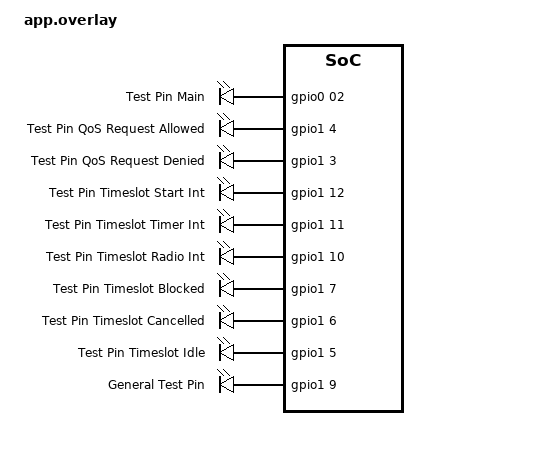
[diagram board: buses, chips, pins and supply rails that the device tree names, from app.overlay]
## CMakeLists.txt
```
#
# Copyright (c) 2019 Nordic Semiconductor
#
# SPDX-License-Identifier: LicenseRef-Nordic-5-Clause
#
cmake_minimum_required(VERSION 3.20.0)

find_package(Zephyr REQUIRED HINTS $ENV{ZEPHYR_BASE})
project(NONE)

if (CONFIG_SOC_NRF5340_CPUAPP)
  message(FATAL_ERROR "This sample is not supported on the nRF53 application core")
endif()

# NORDIC SDK APP START
target_sources(app PRIVATE
  src/main.c
  src/test_gpio.c
)
# NORDIC SDK APP END
zephyr_library_include_directories(.)
```

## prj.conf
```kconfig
#
# Copyright (c) 2019 Nordic Semiconductor
#
# SPDX-License-Identifier: LicenseRef-Nordic-5-Clause
#

CONFIG_NCS_SAMPLES_DEFAULTS=y

CONFIG_MPSL=y
CONFIG_MPSL_TIMESLOT_SESSION_COUNT=1

CONFIG_LOG=y
CONFIG_LOG_MODE_DEFERRED=y

# CONFIG_SERIAL=n
CONFIG_UART_CONSOLE=n
CONFIG_USE_SEGGER_RTT=y

# when this log mode used: an assert with a spinlock arises instead of just a complete freeze
# CONFIG_LOG_MODE_IMMEDIATE=y

# more details in assert
CONFIG_THREAD_NAME=y
CONFIG_ASSERT_NO_COND_INFO=n
CONFIG_ASSERT_NO_MSG_INFO=n

# trying out huge stack sizes, but still facing problem
CONFIG_IDLE_STACK_SIZE=4096
CONFIG_PRIVILEGED_STACK_SIZE=4096
CONFIG_LOG_PROCESS_THREAD_STACK_SIZE=65536
CONFIG_LOG_BUFFER_SIZE=8192
CONFIG_MAIN_STACK_SIZE=4096
CONFIG_ISR_STACK_SIZE=32768
CONFIG_SYSTEM_WORKQUEUE_STACK_SIZE=4096
CONFIG_MPSL_WORK_STACK_SIZE=4096

# Thread analysis
#CONFIG_THREAD_ANALYZER=y
#CONFIG_THREAD_ANALYZER_AUTO=y
#CONFIG_THREAD_ANALYZER_AUTO_INTERVAL=5
#CONFIG_THREAD_MONITOR=y
#CONFIG_THREAD_RUNTIME_STATS=y
#CONFIG_THREAD_RUNTIME_STATS_USE_TIMING_FUNCTIONS=y
#CONFIG_THREAD_ANALYZER_USE_LOG=y
#CONFIG_THREAD_ANALYZER_ISR_STACK_USAGE=y
#CONFIG_THREAD_ANALYZER_AUTO_STACK_SIZE=4096
```

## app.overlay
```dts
/ {
	test_gpio {
		compatible = "gpio-leds";

		main: test_main {
			gpios = <&gpio0 02 GPIO_ACTIVE_HIGH>;
			label = "Test Pin Main";
		};

        qos_req_all: test_104 {
        	gpios = <&gpio1 4 GPIO_ACTIVE_HIGH>;
        	label = "Test Pin QoS Request Allowed";
        };

		qos_req_den: test_103 {
        	gpios = <&gpio1 3 GPIO_ACTIVE_HIGH>;
        	label = "Test Pin QoS Request Denied";
        };

		tim_start: test_112 {
        	gpios = <&gpio1 12 GPIO_ACTIVE_HIGH>;
        	label = "Test Pin Timeslot Start Int";
        };

		tim_timer: test_111 {
        	gpios = <&gpio1 11 GPIO_ACTIVE_HIGH>;
        	label = "Test Pin Timeslot Timer Int";
        };

		tim_radio: test_110 {
        	gpios = <&gpio1 10 GPIO_ACTIVE_HIGH>;
        	label = "Test Pin Timeslot Radio Int";
        };

		tim_block: test_107 {
        	gpios = <&gpio1 7 GPIO_ACTIVE_HIGH>;
        	label = "Test Pin Timeslot Blocked";
        };

		tim_cancel: test_106 {
        	gpios = <&gpio1 6 GPIO_ACTIVE_HIGH>;
        	label = "Test Pin Timeslot Cancelled";
        };

		tim_idle: test_105 {
        	gpios = <&gpio1 5 GPIO_ACTIVE_HIGH>;
        	label = "Test Pin Timeslot Idle";
        };

		test: test_pin {
        	gpios = <&gpio1 9 GPIO_ACTIVE_HIGH>;
        	label = "General Test Pin";
        };
	};
};
```

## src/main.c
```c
/*
 * Copyright (c) 2019 Nordic Semiconductor ASA
 *
 * SPDX-License-Identifier: LicenseRef-Nordic-5-Clause
 */

#include <zephyr/kernel.h>
#include <zephyr/console/console.h>
#include <string.h>
#include <zephyr/sys/printk.h>
#include <zephyr/sys/ring_buffer.h>
#include <zephyr/types.h>
#include <zephyr/irq.h>
#include <zephyr/logging/log.h>

#include <mpsl_timeslot.h>
#include <mpsl.h>
#include <hal/nrf_timer.h>

#include <zephyr/drivers/gpio.h>
#include "test_gpio.h"

LOG_MODULE_REGISTER(demo, LOG_LEVEL_INF);

/* DEFINES FOR CONFIGURATION*/
// TODO: Should be put in a Kconfig

// If defined create pulses using a workqeue that disables the GPIO
// after some time instead of toggling it.
// (for IDLE and request allowed/denied)
// #define PULSE

// If defined toggle GPIO gpio_test for each message read/send in queue.
// For RX it can be seen how immediate logging increases the duration for reading each element.
// #define GPIO_MSGQ_RX
// #define GPIO_MSGQ_TX

// To test many messages at a faster rate to (probably) more likely get an error.
// Causes lost messages in logging when deffered logging is used.
// #define FAST

// If defined will read less data then put into the queue due to maximum limit, so queue will fill up.
// Not all messages can be sent at some point (should be visible in log -> missing numbers).
#define FILL_BUFFER

// Can be used to not use a message queue but just directly write data in 
// global structure in interrupt that can be read in the other thread.
// In this example the timing guarantees no access at the same time,
// but in general this has not to be the case, an interrupt may change
// the date during reading the values.
// The implmenetation is made to fit the normal operation, not the fast one.
// So, when FAST is used, this will have no effect.
// #define NO_MSGQ

/* END DEFINES FOR CONFIGURATION*/

extern struct gpio_dt_spec gpio_main;
extern struct gpio_dt_spec gpio_qos_req_all;
extern struct gpio_dt_spec gpio_qos_req_den;
extern struct gpio_dt_spec gpio_tim_start;
extern struct gpio_dt_spec gpio_tim_timer;
extern struct gpio_dt_spec gpio_tim_idle;
extern struct gpio_dt_spec gpio_test;

#if defined(FAST)
#define TIMESLOT_LENGTH_US           (1500)
#else
#define TIMESLOT_LENGTH_US           (6700)
#endif

#define TIMER_EXPIRY_US (TIMESLOT_LENGTH_US - 200)

#define MPSL_THREAD_PRIO             CONFIG_MPSL_THREAD_COOP_PRIO
#define STACKSIZE                    CONFIG_MAIN_STACK_SIZE
#define THREAD_PRIORITY              K_LOWEST_APPLICATION_THREAD_PRIO

/* MPSL API calls that can be requested for the non-preemptible thread */
enum mpsl_timeslot_call {
	OPEN_SESSION,
	MAKE_REQUEST,
	CLOSE_SESSION,
};

/* Timeslot requests */
static mpsl_timeslot_request_t timeslot_request_earliest = {
	.request_type = MPSL_TIMESLOT_REQ_TYPE_EARLIEST,
	.params.earliest.hfclk = MPSL_TIMESLOT_HFCLK_CFG_NO_GUARANTEE,
	.params.earliest.priority = MPSL_TIMESLOT_PRIORITY_NORMAL,
	.params.earliest.length_us = TIMESLOT_LENGTH_US,
	.params.earliest.timeout_us = 1000000
};

static mpsl_timeslot_signal_return_param_t signal_callback_return_param;

/* Message queue for requesting MPSL API calls to non-preemptible thread */
K_MSGQ_DEFINE(mpsl_api_msgq, sizeof(enum mpsl_timeslot_call), 10, 4);

// Only allow new request when available
K_SEM_DEFINE(sem_allow_request, 0, 1);

// Send data from ISR to thread
#if defined(NO_MSGQ) && !defined(FAST)
uint8_t data_array[20];
#else
#if defined(FAST)
K_MSGQ_DEFINE(data_msgq, 1, 200, 1);
#else
K_MSGQ_DEFINE(data_msgq, 1, 120, 1);
#endif
#endif


static mpsl_timeslot_signal_return_param_t *mpsl_timeslot_callback(
	mpsl_timeslot_session_id_t session_id,
	uint32_t signal_type)
{
	(void) session_id; /* unused parameter */

	mpsl_timeslot_signal_return_param_t *p_ret_val = NULL;

	switch (signal_type) {

	case MPSL_TIMESLOT_SIGNAL_START:
		/* No return action */
		signal_callback_return_param.callback_action = MPSL_TIMESLOT_SIGNAL_ACTION_NONE;
		p_ret_val = &signal_callback_return_param;

		/* Setup timer to trigger an interrupt (and thus the TIMER0
		 * signal) before timeslot end.
		 */
		nrf_timer_cc_set(NRF_TIMER0, NRF_TIMER_CC_CHANNEL0, TIMER_EXPIRY_US);
		nrf_timer_int_enable(NRF_TIMER0, NRF_TIMER_INT_COMPARE0_MASK);

		gpio_pin_toggle_dt(&gpio_tim_start);
	
		static uint8_t test_val = 0;
	#if defined(FAST)
		// Even that it is faster want to cause a higer load for this test
		// and also send more messages.
		// With TX pulses activated: Duration is about 500 us for sending all 100 messages.
		for(int count = 0; count < 100; count ++)
	#else
		for(int count = 0; count < 20; count ++)
	#endif
		{
		#if defined(GPIO_MSGQ_TX)
			gpio_pin_toggle_dt(&gpio_test);
		#endif
    		test_val++;
		#if defined(NO_MSGQ) && !defined(FAST)
			data_array[count] = test_val;
		#else

			int err = k_msgq_put(&data_msgq, &test_val, K_NO_WAIT);

			if(err == -ENOMSG)
			{
				// LOG_WRN("ENOMSG");
			}
			else if(err == -EAGAIN)
			{
				// LOG_WRN("EAGAIN");
			}
		#endif
		}

		break;
	case MPSL_TIMESLOT_SIGNAL_TIMER0:
		/* Clear event */
		nrf_timer_int_disable(NRF_TIMER0, NRF_TIMER_INT_COMPARE0_MASK);
		nrf_timer_event_clear(NRF_TIMER0, NRF_TIMER_EVENT_COMPARE0);

		gpio_pin_toggle_dt(&gpio_tim_timer);

		signal_callback_return_param.callback_action = MPSL_TIMESLOT_SIGNAL_ACTION_END;
		p_ret_val = &signal_callback_return_param;
		
		break;
	case MPSL_TIMESLOT_SIGNAL_SESSION_IDLE:
	#if defined(PULSE)
		gpio_pin_set_dt(&gpio_tim_idle, true);
		disable_gpio_work(gpio_tim_idle.pin);
	#else
		gpio_pin_toggle_dt(&gpio_tim_idle);
	#endif

		k_sem_give(&sem_allow_request);

		break;
	case MPSL_TIMESLOT_SIGNAL_SESSION_CLOSED:
		// Will not happen in this example

		break;
	default:
		LOG_ERR("unexpected signal: %u", signal_type);
		k_oops();
		break;
	}

	return p_ret_val;
}

static void mpsl_timeslot_demo(void)
{
	int err;
	enum mpsl_timeslot_call api_call;

	api_call = OPEN_SESSION;
	err = k_msgq_put(&mpsl_api_msgq, &api_call, K_FOREVER);
	if (err) {
		LOG_ERR("Message sent error: %d", err);
		k_oops();
	}

	while(1)
	{
		api_call = MAKE_REQUEST;

		int sem_code = k_sem_take(&sem_allow_request, K_NO_WAIT);

		if(sem_code == 0)
		{
		#if defined(PULSE)
			gpio_pin_set_dt(&gpio_qos_req_all, true);
			disable_gpio_work(gpio_qos_req_all.pin);
		#else
			gpio_pin_toggle_dt(&gpio_qos_req_all);
		#endif

			err = k_msgq_put(&mpsl_api_msgq, &api_call, K_FOREVER);
			if (err) {
				LOG_ERR("Message sent error: %d", err);
				k_oops();
			}
		}
		else
		{
			#if defined(PULSE)
				gpio_pin_set_dt(&gpio_qos_req_den, true);
				disable_gpio_work(gpio_qos_req_den.pin);
			#else
				gpio_pin_toggle_dt(&gpio_qos_req_den);
			#endif
		}

	#if defined(FAST)
		k_msleep(12);
	#else
		k_msleep(100);
	#endif

#if defined(NO_MSGQ) && !defined(FAST)
	LOG_INF("START");
	for(int i=0; i<20; i++)
	{
		LOG_INF("%2d: %3d", i, data_array[i]);
	}
	// LOG_INF("%3d %3d %3d %3d %3d %3d %3d %3d %3d %3d %3d %3d %3d %3d %3d %3d %3d %3d %3d %3d",
	// 	data_array[0], data_array[1], data_array[2], data_array[3], data_array[4],
	// 	data_array[5], data_array[6], data_array[7], data_array[8], data_array[9],
	// 	data_array[10], data_array[11], data_array[12], data_array[13], data_array[14],
	// 	data_array[15], data_array[16], data_array[17], data_array[18], data_array[19]
	// 	);
#else
		uint8_t data_recv;

		uint8_t max_data_count = 0;
	
		do
		{
			if(k_msgq_get(&data_msgq, &data_recv, K_NO_WAIT) != 0)
			{
				break;
			}

		#if defined(GPIO_MSGQ_RX)
			gpio_pin_toggle_dt(&gpio_test);
		#endif
	
			LOG_INF("%d", data_recv);

			max_data_count++;

	// In fast mode always sending 100 messages, in normal mode 20
	#if defined(FAST)
		#if defined(FILL_BUFFER)
			if(max_data_count == 98)
		#else
			if(max_data_count == 120)
		#endif
	#else
		#if defined(FILL_BUFFER)
			if(max_data_count == 18)
		#else
			if(max_data_count == 40)
		#endif
	#endif
			{
				LOG_INF("STOP MSG");
				break;
			}

		}while(1);

		LOG_INF("NO MORE MSG");

#endif

	}
}

/* To ensure thread safe operation, call all MPSL APIs from a non-preemptible
 * thread.
 */
static void mpsl_nonpreemptible_thread(void)
{
	int err;
	enum mpsl_timeslot_call api_call = 0;

	/* Initialize to invalid session id */
	mpsl_timeslot_session_id_t session_id = 0xFFu;

	while (1) {
		if (k_msgq_get(&mpsl_api_msgq, &api_call, K_FOREVER) == 0) {
			switch (api_call) {
			case OPEN_SESSION:
				err = mpsl_timeslot_session_open(
					mpsl_timeslot_callback,
					&session_id);
				if (err) {
					LOG_ERR("Timeslot session open error: %d", err);
					k_oops();
				}
				LOG_INF("Opened session");
				k_sem_give(&sem_allow_request);
				break;
			case MAKE_REQUEST:
				err = mpsl_timeslot_request(
					session_id,
					&timeslot_request_earliest);
				if (err) {
					LOG_ERR("Timeslot request error: %d", err);
					k_oops();
				}
				break;
			case CLOSE_SESSION:
				err = mpsl_timeslot_session_close(session_id);
				if (err) {
					LOG_ERR("Timeslot session close error: %d", err);
					k_oops();
				}
				LOG_INF("Closed session");
				break;
			default:
				LOG_ERR("Wrong timeslot API call");
				k_oops();
				break;
			}
		}
	}
}

void main(void)
{
	int err = init_test_gpios();
	if(err < 0)
	{
		LOG_ERR("GPIO INIT ERROR");
		return;
	}

	while(1)
	{
		gpio_pin_toggle_dt(&gpio_main);

		k_sleep(K_MSEC(15));
	}
}

K_THREAD_DEFINE(mpsl_timeslot_demo_thread_id, STACKSIZE,
		mpsl_timeslot_demo, NULL, NULL, NULL,
		5, 0, 0);

K_THREAD_DEFINE(mpsl_nonpreemptible_thread_id, STACKSIZE,
		mpsl_nonpreemptible_thread, NULL, NULL, NULL,
		K_PRIO_COOP(MPSL_THREAD_PRIO), 0, 0);
```

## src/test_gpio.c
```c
#include <zephyr/kernel.h>
#include <zephyr/drivers/gpio.h>
#include <zephyr/types.h>

#include "test_gpio.h"

#include <zephyr/logging/log.h>
LOG_MODULE_REGISTER(gpio, LOG_LEVEL_INF);

#define GPIO_DELAY_US 100

// get device information from device tree
struct gpio_dt_spec gpio_main = GPIO_DT_SPEC_GET(DT_NODELABEL(main), gpios);
struct gpio_dt_spec gpio_qos_req_all = GPIO_DT_SPEC_GET(DT_NODELABEL(qos_req_all), gpios);
struct gpio_dt_spec gpio_qos_req_den = GPIO_DT_SPEC_GET(DT_NODELABEL(qos_req_den), gpios);
struct gpio_dt_spec gpio_tim_start = GPIO_DT_SPEC_GET(DT_NODELABEL(tim_start), gpios);
struct gpio_dt_spec gpio_tim_timer = GPIO_DT_SPEC_GET(DT_NODELABEL(tim_timer), gpios);
struct gpio_dt_spec gpio_tim_radio = GPIO_DT_SPEC_GET(DT_NODELABEL(tim_radio), gpios);
struct gpio_dt_spec gpio_tim_block = GPIO_DT_SPEC_GET(DT_NODELABEL(tim_block), gpios);
struct gpio_dt_spec gpio_tim_cancel = GPIO_DT_SPEC_GET(DT_NODELABEL(tim_cancel), gpios);
struct gpio_dt_spec gpio_tim_idle = GPIO_DT_SPEC_GET(DT_NODELABEL(tim_idle), gpios);

struct gpio_dt_spec gpio_test = GPIO_DT_SPEC_GET(DT_NODELABEL(test), gpios);

// Define function for each pin to clear the GPIOs.
// For each pin a separate function, as it will be called via a work queue and
// a work queue does not allow parameters for the function called.
static void disable_gpio_main() 
{
    gpio_pin_set_dt(&gpio_main, false);
}

static void disable_gpio_qos_req_all() 
{
    gpio_pin_set_dt(&gpio_qos_req_all, false);
}

static void disable_gpio_qos_req_den() 
{
    gpio_pin_set_dt(&gpio_qos_req_den, false);
}

static void disable_gpio_tim_start() 
{
    gpio_pin_set_dt(&gpio_tim_start, false);
}

static void disable_gpio_tim_timer() 
{
    gpio_pin_set_dt(&gpio_tim_timer, false);
}

static void disable_gpio_tim_radio() 
{
    gpio_pin_set_dt(&gpio_tim_radio, false);
}

static void disable_gpio_tim_block() 
{
    gpio_pin_set_dt(&gpio_tim_block, false);
}

static void disable_gpio_tim_cancel() 
{
    gpio_pin_set_dt(&gpio_tim_cancel, false);
}

static void disable_gpio_tim_idle() 
{
    gpio_pin_set_dt(&gpio_tim_idle, false);
}


static void disable_gpio_test() 
{
    gpio_pin_set_dt(&gpio_test, false);
}


// Define delayabale work items for all functions to clear GPIOs.
static K_WORK_DELAYABLE_DEFINE(gpio_main_work, disable_gpio_main); 
static K_WORK_DELAYABLE_DEFINE(gpio_qos_req_all_work, disable_gpio_qos_req_all);
static K_WORK_DELAYABLE_DEFINE(gpio_qos_req_den_work, disable_gpio_qos_req_den);
static K_WORK_DELAYABLE_DEFINE(gpio_tim_start_work, disable_gpio_tim_start);
static K_WORK_DELAYABLE_DEFINE(gpio_tim_timer_work, disable_gpio_tim_timer);
static K_WORK_DELAYABLE_DEFINE(gpio_tim_radio_work, disable_gpio_tim_radio);
static K_WORK_DELAYABLE_DEFINE(gpio_tim_block_work, disable_gpio_tim_block);
static K_WORK_DELAYABLE_DEFINE(gpio_tim_cancel_work, disable_gpio_tim_cancel);
static K_WORK_DELAYABLE_DEFINE(gpio_tim_idle_work, disable_gpio_tim_idle);

static K_WORK_DELAYABLE_DEFINE(gpio_test_work, disable_gpio_test);

// Function used to trigger the work queue scheduling from outside.
// Pin of GPIO to trigger needs to be provided.
void disable_gpio_work(gpio_pin_t pin)
{
    struct k_work_delayable *work = NULL;

    if(pin == gpio_main.pin)
    {
        work = &gpio_main_work;
    }
    else if(pin == gpio_qos_req_all.pin)
    {
        work = &gpio_qos_req_all_work;
    }
    else if(pin == gpio_qos_req_den.pin)
    {
        work = &gpio_qos_req_den_work;
    }
    else if(pin == gpio_tim_start.pin)
    {
        work = &gpio_tim_start_work;
    }
    else if(pin == gpio_tim_timer.pin)
    {
        work = &gpio_tim_timer_work;
    }
    else if(pin == gpio_tim_radio.pin)
    {
        work = &gpio_tim_radio_work;
    }
    else if(pin == gpio_tim_block.pin)
    {
        work = &gpio_tim_block_work;
    }
    else if(pin == gpio_tim_cancel.pin)
    {
        work = &gpio_tim_cancel_work;
    }
    else if(pin == gpio_tim_idle.pin)
    {
        work = &gpio_tim_idle_work;
    }
    else if(pin == gpio_test.pin)
    {
        work = &gpio_test_work;
    }
    else
    {
        LOG_WRN("Invalid GPIO pin number to trigger setting GPIO to low!");
        return;
    }
    k_work_schedule(work, K_USEC(GPIO_DELAY_US));
}

// Init all GPIOs directly from one call
int init_test_gpios()
{
    // TODO: differentiate for which gpio error occured. 
    // Currently rest of GPIOs would not be initialized when an error occurs.
    int err;
    err = gpio_pin_configure_dt(&gpio_main, GPIO_OUTPUT_INACTIVE);
    if(err < 0) { return err;}
    err = gpio_pin_configure_dt(&gpio_qos_req_all, GPIO_OUTPUT_INACTIVE);
    if(err < 0) { return err; }
    err = gpio_pin_configure_dt(&gpio_qos_req_den, GPIO_OUTPUT_INACTIVE);
    if(err < 0) { return err; }
    err = gpio_pin_configure_dt(&gpio_tim_start, GPIO_OUTPUT_INACTIVE);
    if(err < 0) { return err; }
    err = gpio_pin_configure_dt(&gpio_tim_timer, GPIO_OUTPUT_INACTIVE);
    if(err < 0) { return err; }
    err = gpio_pin_configure_dt(&gpio_tim_radio, GPIO_OUTPUT_INACTIVE);
    if(err < 0) { return err; }
    err = gpio_pin_configure_dt(&gpio_tim_block, GPIO_OUTPUT_INACTIVE);
    if(err < 0) { return err; }
    err = gpio_pin_configure_dt(&gpio_tim_cancel, GPIO_OUTPUT_INACTIVE);
    if(err < 0) { return err; }
    err = gpio_pin_configure_dt(&gpio_tim_idle, GPIO_OUTPUT_INACTIVE);
    if(err < 0) { return err; }

    err = gpio_pin_configure_dt(&gpio_test, GPIO_OUTPUT_INACTIVE);
    if(err < 0) { return err; }

    return 0;
}
```

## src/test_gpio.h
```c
#ifndef TEST_GPIO_H_
#define TEST_GPIO_H_

#include <zephyr/drivers/gpio.h>

int init_test_gpios();

void disable_gpio_work(gpio_pin_t pin);

#endif // TEST_GPIO_H_
```
